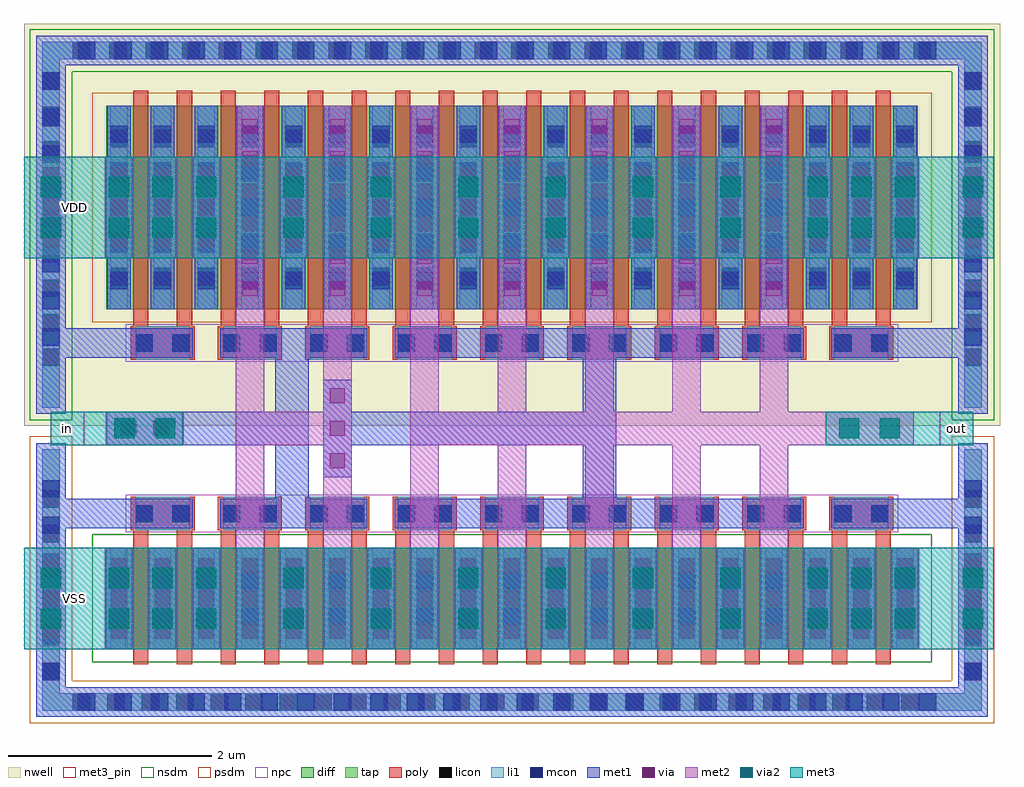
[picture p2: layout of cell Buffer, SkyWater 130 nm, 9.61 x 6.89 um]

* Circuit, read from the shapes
.subckt Buffer VDD VSS in out
XM1 VSS VSS VSS VSS sky130_fd_pr__nfet_01v8 w=1 l=0.15 m=4
XM2 n1 in VSS VSS sky130_fd_pr__nfet_01v8 w=1 l=0.15 m=4
XM3 out n1 VSS VSS sky130_fd_pr__nfet_01v8 w=1 l=0.15 m=10
XM4 VDD VDD VDD VDD sky130_fd_pr__pfet_01v8 w=2 l=0.15 m=4
XM5 n1 in VDD VDD sky130_fd_pr__pfet_01v8 w=2 l=0.15 m=4
XM6 out n1 VDD VDD sky130_fd_pr__pfet_01v8 w=2 l=0.15 m=10
.ends

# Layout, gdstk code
import gdstk
lib = gdstk.Library(unit=1e-6, precision=1e-09)
def R(c, l, rs):  # rectangles x0, y0, x1, y1
    for r in rs: c.add(gdstk.rectangle(r[:2], r[2:], *l))
def A(c, l, x, y, w, h, nx, ny, dx, dy):  # array of equal rectangles
    R(c, l, [(x+i*dx, y+j*dy, x+i*dx+w, y+j*dy+h) for i in range(nx) for j in range(ny)])
nwell = (64, 20)
diff = (65, 20)
tap = (65, 44)
poly = (66, 20)
licon = (66, 44)
li1 = (67, 20)
mcon = (67, 44)
met1 = (68, 20)
via = (68, 44)
met2 = (69, 20)
via2 = (69, 44)
met3_pin = (70, 16)
met3 = (70, 20)
nsdm = (93, 44)
psdm = (94, 20)
npc = (95, 20)

nfet_01v8_cdns_713557510 = lib.new_cell('nfet_01v8_CDNS_7135575103217')
A(nfet_01v8_cdns_713557510, diff, 0, 0, 0.15, 1, 10, 1, 0.43, 0)
A(nfet_01v8_cdns_713557510, diff, 0.15, 0, 0.28, 1, 9, 1, 0.43, 0)
R(nfet_01v8_cdns_713557510, diff, [(-0.055,0,0,1), (4.02,0,4.245,1)])
A(nfet_01v8_cdns_713557510, poly, 0, -0.15, 0.15, 0.055, 10, 2, 0.43, 1.245)
A(nfet_01v8_cdns_713557510, poly, 0, -0.095, 0.15, 0.095, 10, 2, 0.43, 1.095)
A(nfet_01v8_cdns_713557510, poly, 0, 0, 0.15, 1, 10, 1, 0.43, 0)
A(nfet_01v8_cdns_713557510, licon, 0.205, 0.245, 0.17, 0.17, 10, 2, 0.43, 0.34)
A(nfet_01v8_cdns_713557510, li1, 0.205, 0, 0.17, 1, 10, 1, 0.43, 0)
A(nfet_01v8_cdns_713557510, mcon, 0.205, 0.235, 0.17, 0.17, 10, 2, 0.43, 0.36)
A(nfet_01v8_cdns_713557510, met1, 0.175, 0, 0.23, 1, 10, 1, 0.43, 0)
R(nfet_01v8_cdns_713557510, nsdm, [(-0.065,-0.13,4.255,1.13)])

c_nfet_01v8_cdns_713557510 = lib.new_cell('nfet_01v8_CDNS_7135575103210')
R(c_nfet_01v8_cdns_713557510, diff, [(-0.055,0,0,1), (0,0,0.15,1), (0.15,0,0.43,1), (0.43,0,0.58,1), (0.58,0,0.845,1)])
R(c_nfet_01v8_cdns_713557510, poly, [(0,-0.15,0.15,-0.095), (0.43,-0.15,0.58,-0.095), (0,-0.095,0.15,0), (0.43,-0.095,0.58,0), (0,0,0.15,1), (0.43,0,0.58,1), (0,1,0.15,1.095), (0.43,1,0.58,1.095), (0,1.095,0.15,1.15), (0.43,1.095,0.58,1.15)])
R(c_nfet_01v8_cdns_713557510, licon, [(0.205,0.245,0.375,0.415), (0.635,0.245,0.805,0.415), (0.205,0.585,0.375,0.755), (0.635,0.585,0.805,0.755)])
R(c_nfet_01v8_cdns_713557510, li1, [(0.205,0,0.375,1), (0.635,0,0.805,1)])
R(c_nfet_01v8_cdns_713557510, mcon, [(0.205,0.235,0.375,0.405), (0.635,0.235,0.805,0.405), (0.205,0.595,0.375,0.765), (0.635,0.595,0.805,0.765)])
R(c_nfet_01v8_cdns_713557510, met1, [(0.175,0,0.405,1), (0.605,0,0.835,1)])
R(c_nfet_01v8_cdns_713557510, nsdm, [(-0.065,-0.13,0.985,1.13)])

pfet_01v8_cdns_713557510 = lib.new_cell('pfet_01v8_CDNS_7135575103218')
R(pfet_01v8_cdns_713557510, nwell, [(-0.235,-0.18,4.425,2.18)])
A(pfet_01v8_cdns_713557510, diff, 0, 0, 0.15, 2, 10, 1, 0.43, 0)
A(pfet_01v8_cdns_713557510, diff, 0.15, 0, 0.28, 2, 9, 1, 0.43, 0)
R(pfet_01v8_cdns_713557510, diff, [(-0.055,0,0,2), (4.02,0,4.245,2)])
A(pfet_01v8_cdns_713557510, poly, 0, -0.15, 0.15, 0.055, 10, 2, 0.43, 2.245)
A(pfet_01v8_cdns_713557510, poly, 0, -0.095, 0.15, 0.095, 10, 2, 0.43, 2.095)
A(pfet_01v8_cdns_713557510, poly, 0, 0, 0.15, 2, 10, 1, 0.43, 0)
A(pfet_01v8_cdns_713557510, licon, 0.205, 0.235, 0.17, 0.17, 10, 5, 0.43, 0.34)
A(pfet_01v8_cdns_713557510, li1, 0.205, 0, 0.17, 2, 10, 1, 0.43, 0)
A(pfet_01v8_cdns_713557510, mcon, 0.205, 0.195, 0.17, 0.17, 10, 5, 0.43, 0.36)
A(pfet_01v8_cdns_713557510, met1, 0.175, 0, 0.23, 2, 10, 1, 0.43, 0)
R(pfet_01v8_cdns_713557510, psdm, [(-0.065,-0.13,4.255,2.13)])

c_nfet_01v8_cdns_713557510_ = lib.new_cell('nfet_01v8_CDNS_7135575103214')
A(c_nfet_01v8_cdns_713557510_, diff, 0, 0, 0.15, 1, 4, 1, 0.43, 0)
A(c_nfet_01v8_cdns_713557510_, diff, 0.15, 0, 0.28, 1, 3, 1, 0.43, 0)
R(c_nfet_01v8_cdns_713557510_, diff, [(-0.225,0,0,1), (1.44,0,1.665,1)])
A(c_nfet_01v8_cdns_713557510_, poly, 0, -0.15, 0.15, 0.055, 4, 2, 0.43, 1.245)
A(c_nfet_01v8_cdns_713557510_, poly, 0, -0.095, 0.15, 0.095, 4, 2, 0.43, 1.095)
A(c_nfet_01v8_cdns_713557510_, poly, 0, 0, 0.15, 1, 4, 1, 0.43, 0)
A(c_nfet_01v8_cdns_713557510_, licon, -0.225, 0.245, 0.17, 0.17, 5, 2, 0.43, 0.34)
A(c_nfet_01v8_cdns_713557510_, li1, -0.225, 0, 0.17, 1, 5, 1, 0.43, 0)
A(c_nfet_01v8_cdns_713557510_, mcon, -0.225, 0.235, 0.17, 0.17, 5, 2, 0.43, 0.36)
A(c_nfet_01v8_cdns_713557510_, met1, -0.255, 0, 0.23, 1, 5, 1, 0.43, 0)
R(c_nfet_01v8_cdns_713557510_, nsdm, [(-0.235,-0.13,1.675,1.13)])

c_pfet_01v8_cdns_713557510 = lib.new_cell('pfet_01v8_CDNS_7135575103215')
R(c_pfet_01v8_cdns_713557510, nwell, [(-0.405,-0.18,1.845,2.18)])
A(c_pfet_01v8_cdns_713557510, diff, 0, 0, 0.15, 2, 4, 1, 0.43, 0)
A(c_pfet_01v8_cdns_713557510, diff, 0.15, 0, 0.28, 2, 3, 1, 0.43, 0)
R(c_pfet_01v8_cdns_713557510, diff, [(-0.225,0,0,2), (1.44,0,1.665,2)])
A(c_pfet_01v8_cdns_713557510, poly, 0, -0.15, 0.15, 0.055, 4, 2, 0.43, 2.245)
A(c_pfet_01v8_cdns_713557510, poly, 0, -0.095, 0.15, 0.095, 4, 2, 0.43, 2.095)
A(c_pfet_01v8_cdns_713557510, poly, 0, 0, 0.15, 2, 4, 1, 0.43, 0)
A(c_pfet_01v8_cdns_713557510, licon, -0.225, 0.235, 0.17, 0.17, 5, 5, 0.43, 0.34)
A(c_pfet_01v8_cdns_713557510, li1, -0.225, 0, 0.17, 2, 5, 1, 0.43, 0)
A(c_pfet_01v8_cdns_713557510, mcon, -0.225, 0.195, 0.17, 0.17, 5, 5, 0.43, 0.36)
A(c_pfet_01v8_cdns_713557510, met1, -0.255, 0, 0.23, 2, 5, 1, 0.43, 0)
R(c_pfet_01v8_cdns_713557510, psdm, [(-0.235,-0.13,1.675,2.13)])

c_pfet_01v8_cdns_713557510_ = lib.new_cell('pfet_01v8_CDNS_7135575103212')
R(c_pfet_01v8_cdns_713557510_, nwell, [(-0.445,-0.18,0.815,2.18)])
R(c_pfet_01v8_cdns_713557510_, diff, [(-0.265,0,0,2), (0,0,0.15,2), (0.15,0,0.43,2), (0.43,0,0.58,2), (0.58,0,0.635,2)])
R(c_pfet_01v8_cdns_713557510_, poly, [(0,-0.15,0.15,-0.095), (0.43,-0.15,0.58,-0.095), (0,-0.095,0.15,0), (0.43,-0.095,0.58,0), (0,0,0.15,2), (0.43,0,0.58,2), (0,2,0.15,2.095), (0.43,2,0.58,2.095), (0,2.095,0.15,2.15), (0.43,2.095,0.58,2.15)])
A(c_pfet_01v8_cdns_713557510_, licon, -0.225, 0.235, 0.17, 0.17, 1, 5, 0, 0.34)
A(c_pfet_01v8_cdns_713557510_, licon, 0.205, 0.235, 0.17, 0.17, 1, 5, 0, 0.34)
R(c_pfet_01v8_cdns_713557510_, li1, [(-0.225,0,-0.055,2), (0.205,0,0.375,2)])
A(c_pfet_01v8_cdns_713557510_, mcon, -0.225, 0.195, 0.17, 0.17, 1, 5, 0, 0.36)
A(c_pfet_01v8_cdns_713557510_, mcon, 0.205, 0.195, 0.17, 0.17, 1, 5, 0, 0.36)
R(c_pfet_01v8_cdns_713557510_, met1, [(-0.255,0,-0.025,2), (0.175,0,0.405,2)])
R(c_pfet_01v8_cdns_713557510_, psdm, [(-0.405,-0.13,0.645,2.13)])

c_nfet_01v8_cdns_713557510__ = lib.new_cell('nfet_01v8_CDNS_7135575103213')
R(c_nfet_01v8_cdns_713557510__, diff, [(-0.265,0,0,1), (0,0,0.15,1), (0.15,0,0.43,1), (0.43,0,0.58,1), (0.58,0,0.635,1)])
R(c_nfet_01v8_cdns_713557510__, poly, [(0,-0.15,0.15,-0.095), (0.43,-0.15,0.58,-0.095), (0,-0.095,0.15,0), (0.43,-0.095,0.58,0), (0,0,0.15,1), (0.43,0,0.58,1), (0,1,0.15,1.095), (0.43,1,0.58,1.095), (0,1.095,0.15,1.15), (0.43,1.095,0.58,1.15)])
R(c_nfet_01v8_cdns_713557510__, licon, [(-0.225,0.245,-0.055,0.415), (0.205,0.245,0.375,0.415), (-0.225,0.585,-0.055,0.755), (0.205,0.585,0.375,0.755)])
R(c_nfet_01v8_cdns_713557510__, li1, [(-0.225,0,-0.055,1), (0.205,0,0.375,1)])
R(c_nfet_01v8_cdns_713557510__, mcon, [(-0.225,0.235,-0.055,0.405), (0.205,0.235,0.375,0.405), (-0.225,0.595,-0.055,0.765), (0.205,0.595,0.375,0.765)])
R(c_nfet_01v8_cdns_713557510__, met1, [(-0.255,0,-0.025,1), (0.175,0,0.405,1)])
R(c_nfet_01v8_cdns_713557510__, nsdm, [(-0.405,-0.13,0.645,1.13)])

c_pfet_01v8_cdns_713557510__ = lib.new_cell('pfet_01v8_CDNS_7135575103216')
R(c_pfet_01v8_cdns_713557510__, nwell, [(-0.235,-0.18,1.025,2.18)])
R(c_pfet_01v8_cdns_713557510__, diff, [(-0.055,0,0,2), (0,0,0.15,2), (0.15,0,0.43,2), (0.43,0,0.58,2), (0.58,0,0.845,2)])
R(c_pfet_01v8_cdns_713557510__, poly, [(0,-0.15,0.15,-0.095), (0.43,-0.15,0.58,-0.095), (0,-0.095,0.15,0), (0.43,-0.095,0.58,0), (0,0,0.15,2), (0.43,0,0.58,2), (0,2,0.15,2.095), (0.43,2,0.58,2.095), (0,2.095,0.15,2.15), (0.43,2.095,0.58,2.15)])
A(c_pfet_01v8_cdns_713557510__, licon, 0.205, 0.235, 0.17, 0.17, 1, 5, 0, 0.34)
A(c_pfet_01v8_cdns_713557510__, licon, 0.635, 0.235, 0.17, 0.17, 1, 5, 0, 0.34)
R(c_pfet_01v8_cdns_713557510__, li1, [(0.205,0,0.375,2), (0.635,0,0.805,2)])
A(c_pfet_01v8_cdns_713557510__, mcon, 0.205, 0.195, 0.17, 0.17, 1, 5, 0, 0.36)
A(c_pfet_01v8_cdns_713557510__, mcon, 0.635, 0.195, 0.17, 0.17, 1, 5, 0, 0.36)
R(c_pfet_01v8_cdns_713557510__, met1, [(0.175,0,0.405,2), (0.605,0,0.835,2)])
R(c_pfet_01v8_cdns_713557510__, psdm, [(-0.065,-0.13,0.985,2.13)])

m1m2_c_cdns_713557510326 = lib.new_cell('M1M2_C_CDNS_7135575103261')
R(m1m2_c_cdns_713557510326, met1, [(-0.145,-0.5,0.145,0.5)])
A(m1m2_c_cdns_713557510326, via, -0.075, -0.395, 0.15, 0.15, 1, 3, 0, 0.32)
R(m1m2_c_cdns_713557510326, met2, [(-0.145,-0.5,0.145,0.5)])

m2m3_c_cdns_713557510326 = lib.new_cell('M2M3_C_CDNS_7135575103262')
R(m2m3_c_cdns_713557510326, met2, [(-0.145,-0.5,0.145,0.5)])
R(m2m3_c_cdns_713557510326, via2, [(-0.1,-0.3,0.1,-0.1), (-0.1,0.1,0.1,0.3)])
R(m2m3_c_cdns_713557510326, met3, [(-0.165,-0.5,0.165,0.5)])

c_m1m2_c_cdns_713557510326 = lib.new_cell('M1M2_C_CDNS_7135575103263')
R(c_m1m2_c_cdns_713557510326, met1, [(-0.13,-0.5,0.13,0.5)])
A(c_m1m2_c_cdns_713557510326, via, -0.075, -0.395, 0.15, 0.15, 1, 3, 0, 0.32)
R(c_m1m2_c_cdns_713557510326, met2, [(-0.14,-0.5,0.14,0.5)])

c_m2m3_c_cdns_713557510326 = lib.new_cell('M2M3_C_CDNS_7135575103264')
R(c_m2m3_c_cdns_713557510326, met2, [(-0.14,-0.5,0.14,0.5)])
R(c_m2m3_c_cdns_713557510326, via2, [(-0.1,-0.3,0.1,-0.1), (-0.1,0.1,0.1,0.3)])
R(c_m2m3_c_cdns_713557510326, met3, [(-0.165,-0.5,0.165,0.5)])

c_m2m3_c_cdns_713557510326_ = lib.new_cell('M2M3_C_CDNS_7135575103260')
R(c_m2m3_c_cdns_713557510326_, met2, [(-0.385,-0.165,0.385,0.165)])
R(c_m2m3_c_cdns_713557510326_, via2, [(-0.3,-0.1,-0.1,0.1), (0.1,-0.1,0.3,0.1)])
R(c_m2m3_c_cdns_713557510326_, met3, [(-0.375,-0.165,0.375,0.165)])

m2m3_c_cdns_713557510325 = lib.new_cell('M2M3_C_CDNS_713557510325')
R(m2m3_c_cdns_713557510325, met2, [(-0.43,-0.165,0.43,0.165)])
R(m2m3_c_cdns_713557510325, via2, [(-0.3,-0.1,-0.1,0.1), (0.1,-0.1,0.3,0.1)])
R(m2m3_c_cdns_713557510325, met3, [(-0.43,-0.165,0.43,0.165)])

m1m2_c_cdns_713557510325 = lib.new_cell('M1M2_C_CDNS_7135575103259')
R(m1m2_c_cdns_713557510325, met1, [(-0.375,-0.165,0.375,0.165)])
R(m1m2_c_cdns_713557510325, via, [(-0.235,-0.075,-0.085,0.075), (0.085,-0.075,0.235,0.075)])
R(m1m2_c_cdns_713557510325, met2, [(-0.385,-0.165,0.385,0.165)])

c_m1m2_c_cdns_713557510325 = lib.new_cell('M1M2_C_CDNS_7135575103258')
R(c_m1m2_c_cdns_713557510325, met1, [(-0.13,-1,0.13,1)])
A(c_m1m2_c_cdns_713557510325, via, -0.075, -0.875, 0.15, 0.15, 1, 6, 0, 0.32)
R(c_m1m2_c_cdns_713557510325, met2, [(-0.13,-1,0.13,1)])

m1m2_c_cdns_713557510324 = lib.new_cell('M1M2_C_CDNS_7135575103244')
R(m1m2_c_cdns_713557510324, met1, [(-0.13,-0.5,0.13,0.5)])
A(m1m2_c_cdns_713557510324, via, -0.075, -0.395, 0.15, 0.15, 1, 3, 0, 0.32)
R(m1m2_c_cdns_713557510324, met2, [(-0.13,-0.5,0.13,0.5)])

polyconn_cdns_7135575103 = lib.new_cell('polyConn_CDNS_713557510320')
R(polyconn_cdns_7135575103, poly, [(-0.315,-0.165,0.315,0.165)])
R(polyconn_cdns_7135575103, licon, [(-0.265,-0.085,-0.095,0.085), (0.095,-0.085,0.265,0.085)])
R(polyconn_cdns_7135575103, li1, [(-0.265,-0.165,0.265,0.165)])
R(polyconn_cdns_7135575103, mcon, [(-0.265,-0.085,-0.095,0.085), (0.095,-0.085,0.265,0.085)])
R(polyconn_cdns_7135575103, met1, [(-0.295,-0.145,0.295,0.145)])
R(polyconn_cdns_7135575103, npc, [(-0.365,-0.185,0.365,0.185)])

c_m1m2_c_cdns_713557510326_ = lib.new_cell('M1M2_C_CDNS_7135575103265')
R(c_m1m2_c_cdns_713557510326_, met1, [(-0.14,-0.48,0.14,0.48)])
A(c_m1m2_c_cdns_713557510326_, via, -0.075, -0.395, 0.15, 0.15, 1, 3, 0, 0.32)
R(c_m1m2_c_cdns_713557510326_, met2, [(-0.14,-0.48,0.14,0.48)])

buffer = lib.new_cell('Buffer')
R(buffer, nwell, [(0,2.93,9.61,6.89)])
A(buffer, poly, 1.075, 1.73, 0.15, 0.5, 18, 2, 0.43, 1.85)
A(buffer, licon, 0.48, 0.125, 0.17, 0.17, 25, 1, 0.34, 0)
A(buffer, licon, 0.18, 0.425, 0.17, 0.17, 1, 6, 0, 0.34)
A(buffer, licon, 9.26, 0.425, 0.17, 0.17, 1, 6, 0, 0.34)
A(buffer, licon, 0.18, 3.52, 0.17, 0.17, 1, 9, 0, 0.34)
A(buffer, licon, 9.26, 3.52, 0.17, 0.17, 1, 9, 0, 0.34)
A(buffer, licon, 0.48, 6.54, 0.17, 0.17, 24, 1, 0.36, 0)
A(buffer, mcon, 0.53, 0.125, 0.17, 0.17, 24, 2, 0.36, 6.415)
A(buffer, mcon, 0.18, 0.425, 0.17, 0.17, 1, 6, 0, 0.36)
A(buffer, mcon, 9.26, 0.425, 0.17, 0.17, 1, 6, 0, 0.36)
A(buffer, mcon, 0.18, 3.72, 0.17, 0.17, 1, 8, 0, 0.36)
A(buffer, mcon, 9.26, 3.72, 0.17, 0.17, 1, 8, 0, 0.36)
R(buffer, met1, [(0.265,1.92,1.66,2.21), (1.93,1.92,3.38,2.21), (3.65,1.92,7.68,2.21), (7.95,1.92,9.345,2.21), (0.265,3.6,1.66,3.89), (1.93,3.6,3.38,3.89), (3.65,3.6,7.68,3.89), (7.95,3.6,9.345,3.89)])
R(buffer, met3_pin, [(0,0.73,1,1.73), (0.265,2.74,0.595,3.07), (9.015,2.74,9.345,3.07), (0,4.58,1,5.58)])
R(buffer, npc, [(1,1.88,8.61,2.25), (1,3.56,8.61,3.93)])
buffer.add(gdstk.FlexPath([(9.345,6.71),(9.345,3.11)], 0.17, ends="flush", simple_path=True, layer=67, datatype=20))  # li1
buffer.add(gdstk.FlexPath([(0.265,6.71),(0.265,3.11)], 0.17, ends="flush", simple_path=True, layer=67, datatype=20))  # li1
buffer.add(gdstk.FlexPath([(0.18,6.625),(9.43,6.625)], 0.17, ends="flush", simple_path=True, layer=67, datatype=20))  # li1
buffer.add(gdstk.FlexPath([(0.18,0.21),(9.43,0.21)], 0.17, ends="flush", simple_path=True, layer=67, datatype=20))  # li1
buffer.add(gdstk.FlexPath([(9.345,0.125),(9.345,2.7)], 0.17, ends="flush", simple_path=True, layer=67, datatype=20))  # li1
buffer.add(gdstk.FlexPath([(0.265,0.125),(0.265,2.7)], 0.17, ends="flush", simple_path=True, layer=67, datatype=20))  # li1
buffer.add(gdstk.FlexPath([(9.345,0),(9.345,2.825)], 0.42, ends="flush", simple_path=True, layer=94, datatype=20))  # psdm
buffer.add(gdstk.FlexPath([(0.055,0.21),(9.555,0.21)], 0.42, ends="flush", simple_path=True, layer=94, datatype=20))  # psdm
buffer.add(gdstk.FlexPath([(0.265,0),(0.265,2.825)], 0.42, ends="flush", simple_path=True, layer=94, datatype=20))  # psdm
buffer.add(gdstk.FlexPath([(9.345,6.89),(9.345,2.93)], 0.53, ends="flush", simple_path=True, layer=64, datatype=20))  # nwell
buffer.add(gdstk.FlexPath([(0.265,6.89),(0.265,2.93)], 0.53, ends="flush", simple_path=True, layer=64, datatype=20))  # nwell
buffer.add(gdstk.FlexPath([(0,6.625),(9.61,6.625)], 0.53, ends="flush", simple_path=True, layer=64, datatype=20))  # nwell
buffer.add(gdstk.FlexPath([(9.345,6.835),(9.345,2.985)], 0.42, ends="flush", simple_path=True, layer=93, datatype=44))  # nsdm
buffer.add(gdstk.FlexPath([(0.265,6.835),(0.265,2.985)], 0.42, ends="flush", simple_path=True, layer=93, datatype=44))  # nsdm
buffer.add(gdstk.FlexPath([(0.055,6.625),(9.555,6.625)], 0.42, ends="flush", simple_path=True, layer=93, datatype=44))  # nsdm
buffer.add(gdstk.FlexPath([(9.345,6.77),(9.345,3.05)], 0.29, ends="flush", simple_path=True, layer=68, datatype=20))  # met1
buffer.add(gdstk.FlexPath([(0.265,6.77),(0.265,3.05)], 0.29, ends="flush", simple_path=True, layer=68, datatype=20))  # met1
buffer.add(gdstk.FlexPath([(0.12,6.625),(9.49,6.625)], 0.29, ends="flush", simple_path=True, layer=68, datatype=20))  # met1
buffer.add(gdstk.FlexPath([(2.655,2.905),(0.815,2.905)], 0.33, ends="flush", simple_path=True, layer=68, datatype=20))  # met1
buffer.add(gdstk.FlexPath([(5.665,2.905),(2.945,2.905)], 0.33, ends="flush", simple_path=True, layer=68, datatype=20))  # met1
buffer.add(gdstk.FlexPath([(2.64,1.92),(2.64,3.89)], 0.33, ends="flush", simple_path=True, layer=68, datatype=20))  # met1
buffer.add(gdstk.FlexPath([(5.665,1.92),(5.665,3.89)], 0.33, ends="flush", simple_path=True, layer=68, datatype=20))  # met1
buffer.add(gdstk.FlexPath([(9.345,0.065),(9.345,2.76)], 0.29, ends="flush", simple_path=True, layer=68, datatype=20))  # met1
buffer.add(gdstk.FlexPath([(0.12,0.21),(9.49,0.21)], 0.29, ends="flush", simple_path=True, layer=68, datatype=20))  # met1
buffer.add(gdstk.FlexPath([(0.265,0.065),(0.265,2.76)], 0.29, ends="flush", simple_path=True, layer=68, datatype=20))  # met1
buffer.add(gdstk.FlexPath([(1.565,2.905),(0.265,2.905)], 0.33, ends="flush", simple_path=True, layer=70, datatype=20))  # met3
buffer.add(gdstk.FlexPath([(9.345,2.905),(7.895,2.905)], 0.33, ends="flush", simple_path=True, layer=70, datatype=20))  # met3
buffer.add(gdstk.FlexPath([(0,1.23),(9.55,1.23)], 1, ends="flush", simple_path=True, layer=70, datatype=20))  # met3
buffer.add(gdstk.FlexPath([(0,5.08),(9.55,5.08)], 1, ends="flush", simple_path=True, layer=70, datatype=20))  # met3
buffer.add(gdstk.FlexPath([(2.225,6.08),(2.225,0.73)], 0.28, ends="flush", simple_path=True, layer=69, datatype=20))  # met2
buffer.add(gdstk.FlexPath([(3.085,6.08),(3.085,0.73)], 0.28, ends="flush", simple_path=True, layer=69, datatype=20))  # met2
buffer.add(gdstk.FlexPath([(3.945,6.08),(3.945,0.73)], 0.28, ends="flush", simple_path=True, layer=69, datatype=20))  # met2
buffer.add(gdstk.FlexPath([(4.805,6.08),(4.805,0.73)], 0.28, ends="flush", simple_path=True, layer=69, datatype=20))  # met2
buffer.add(gdstk.FlexPath([(5.665,6.08),(5.665,0.73)], 0.28, ends="flush", simple_path=True, layer=69, datatype=20))  # met2
buffer.add(gdstk.FlexPath([(6.525,6.08),(6.525,0.73)], 0.28, ends="flush", simple_path=True, layer=69, datatype=20))  # met2
buffer.add(gdstk.FlexPath([(7.385,6.08),(7.385,0.73)], 0.28, ends="flush", simple_path=True, layer=69, datatype=20))  # met2
buffer.add(gdstk.FlexPath([(3.805,2.905),(8.76,2.905)], 0.33, ends="flush", simple_path=True, layer=69, datatype=20))  # met2
buffer.add(gdstk.FlexPath([(2.085,2.905),(3.225,2.905)], 0.33, ends="flush", simple_path=True, layer=69, datatype=20))  # met2
buffer.add(gdstk.FlexPath([(9.345,0.125),(9.345,2.7)], 0.17, ends="flush", simple_path=True, layer=65, datatype=44))  # tap
buffer.add(gdstk.FlexPath([(0.18,0.21),(9.43,0.21)], 0.17, ends="flush", simple_path=True, layer=65, datatype=44))  # tap
buffer.add(gdstk.FlexPath([(0.265,0.125),(0.265,2.7)], 0.17, ends="flush", simple_path=True, layer=65, datatype=44))  # tap
buffer.add(gdstk.FlexPath([(0.18,6.625),(9.43,6.625)], 0.17, ends="flush", simple_path=True, layer=65, datatype=44))  # tap
buffer.add(gdstk.FlexPath([(0.265,6.71),(0.265,3.11)], 0.17, ends="flush", simple_path=True, layer=65, datatype=44))  # tap
buffer.add(gdstk.FlexPath([(9.345,6.71),(9.345,3.11)], 0.17, ends="flush", simple_path=True, layer=65, datatype=44))  # tap
buffer.add(gdstk.Reference(nfet_01v8_cdns_713557510, (3.655,0.73)))
buffer.add(gdstk.Reference(c_nfet_01v8_cdns_713557510, (7.955,0.73)))
buffer.add(gdstk.Reference(pfet_01v8_cdns_713557510, (3.655,4.08)))
buffer.add(gdstk.Reference(c_nfet_01v8_cdns_713557510_, (1.935,0.73)))
buffer.add(gdstk.Reference(c_pfet_01v8_cdns_713557510, (1.935,4.08)))
buffer.add(gdstk.Reference(c_pfet_01v8_cdns_713557510_, (1.075,4.08)))
buffer.add(gdstk.Reference(c_nfet_01v8_cdns_713557510__, (1.075,0.73)))
buffer.add(gdstk.Reference(c_pfet_01v8_cdns_713557510__, (7.955,4.08)))
buffer.add(gdstk.Reference(m1m2_c_cdns_713557510326, (9.345,1.23)))
buffer.add(gdstk.Reference(m1m2_c_cdns_713557510326, (0.265,1.23)))
buffer.add(gdstk.Reference(m1m2_c_cdns_713557510326, (9.345,5.08)))
buffer.add(gdstk.Reference(m1m2_c_cdns_713557510326, (0.265,5.08)))
buffer.add(gdstk.Reference(m2m3_c_cdns_713557510326, (9.345,1.23)))
buffer.add(gdstk.Reference(m2m3_c_cdns_713557510326, (0.265,1.23)))
buffer.add(gdstk.Reference(m2m3_c_cdns_713557510326, (9.345,5.08)))
buffer.add(gdstk.Reference(m2m3_c_cdns_713557510326, (0.265,5.08)))
buffer.add(gdstk.Reference(c_m1m2_c_cdns_713557510326, (2.655,1.23)))
buffer.add(gdstk.Reference(c_m1m2_c_cdns_713557510326, (1.795,1.23)))
buffer.add(gdstk.Reference(c_m1m2_c_cdns_713557510326, (1.365,1.23)))
buffer.add(gdstk.Reference(c_m1m2_c_cdns_713557510326, (0.935,1.23)))
buffer.add(gdstk.Reference(c_m1m2_c_cdns_713557510326, (2.655,5.08)))
buffer.add(gdstk.Reference(c_m1m2_c_cdns_713557510326, (1.795,5.08)))
buffer.add(gdstk.Reference(c_m1m2_c_cdns_713557510326, (1.365,5.08)))
buffer.add(gdstk.Reference(c_m1m2_c_cdns_713557510326, (0.935,5.08)))
buffer.add(gdstk.Reference(c_m1m2_c_cdns_713557510326, (8.675,1.23)))
buffer.add(gdstk.Reference(c_m1m2_c_cdns_713557510326, (3.515,5.08)))
buffer.add(gdstk.Reference(c_m1m2_c_cdns_713557510326, (4.375,5.08)))
buffer.add(gdstk.Reference(c_m1m2_c_cdns_713557510326, (5.235,5.08)))
buffer.add(gdstk.Reference(c_m1m2_c_cdns_713557510326, (6.095,5.08)))
buffer.add(gdstk.Reference(c_m1m2_c_cdns_713557510326, (6.955,5.08)))
buffer.add(gdstk.Reference(c_m1m2_c_cdns_713557510326, (7.815,5.08)))
buffer.add(gdstk.Reference(c_m1m2_c_cdns_713557510326, (8.245,5.08)))
buffer.add(gdstk.Reference(c_m1m2_c_cdns_713557510326, (8.675,5.08)))
buffer.add(gdstk.Reference(c_m1m2_c_cdns_713557510326, (3.515,1.23)))
buffer.add(gdstk.Reference(c_m1m2_c_cdns_713557510326, (4.375,1.23)))
buffer.add(gdstk.Reference(c_m1m2_c_cdns_713557510326, (5.235,1.23)))
buffer.add(gdstk.Reference(c_m1m2_c_cdns_713557510326, (6.095,1.23)))
buffer.add(gdstk.Reference(c_m1m2_c_cdns_713557510326, (6.955,1.23)))
buffer.add(gdstk.Reference(c_m1m2_c_cdns_713557510326, (7.815,1.23)))
buffer.add(gdstk.Reference(c_m1m2_c_cdns_713557510326, (8.245,1.23)))
buffer.add(gdstk.Reference(c_m2m3_c_cdns_713557510326, (2.655,1.23)))
buffer.add(gdstk.Reference(c_m2m3_c_cdns_713557510326, (1.795,1.23)))
buffer.add(gdstk.Reference(c_m2m3_c_cdns_713557510326, (1.365,1.23)))
buffer.add(gdstk.Reference(c_m2m3_c_cdns_713557510326, (0.935,1.23)))
buffer.add(gdstk.Reference(c_m2m3_c_cdns_713557510326, (2.655,5.08)))
buffer.add(gdstk.Reference(c_m2m3_c_cdns_713557510326, (1.795,5.08)))
buffer.add(gdstk.Reference(c_m2m3_c_cdns_713557510326, (1.365,5.08)))
buffer.add(gdstk.Reference(c_m2m3_c_cdns_713557510326, (0.935,5.08)))
buffer.add(gdstk.Reference(c_m2m3_c_cdns_713557510326, (8.675,1.23)))
buffer.add(gdstk.Reference(c_m2m3_c_cdns_713557510326, (3.515,5.08)))
buffer.add(gdstk.Reference(c_m2m3_c_cdns_713557510326, (4.375,5.08)))
buffer.add(gdstk.Reference(c_m2m3_c_cdns_713557510326, (5.235,5.08)))
buffer.add(gdstk.Reference(c_m2m3_c_cdns_713557510326, (6.095,5.08)))
buffer.add(gdstk.Reference(c_m2m3_c_cdns_713557510326, (6.955,5.08)))
buffer.add(gdstk.Reference(c_m2m3_c_cdns_713557510326, (7.815,5.08)))
buffer.add(gdstk.Reference(c_m2m3_c_cdns_713557510326, (8.245,5.08)))
buffer.add(gdstk.Reference(c_m2m3_c_cdns_713557510326, (8.675,5.08)))
buffer.add(gdstk.Reference(c_m2m3_c_cdns_713557510326, (3.515,1.23)))
buffer.add(gdstk.Reference(c_m2m3_c_cdns_713557510326, (4.375,1.23)))
buffer.add(gdstk.Reference(c_m2m3_c_cdns_713557510326, (5.235,1.23)))
buffer.add(gdstk.Reference(c_m2m3_c_cdns_713557510326, (6.095,1.23)))
buffer.add(gdstk.Reference(c_m2m3_c_cdns_713557510326, (6.955,1.23)))
buffer.add(gdstk.Reference(c_m2m3_c_cdns_713557510326, (7.815,1.23)))
buffer.add(gdstk.Reference(c_m2m3_c_cdns_713557510326, (8.245,1.23)))
buffer.add(gdstk.Reference(c_m2m3_c_cdns_713557510326_, (1.19,2.905)))
buffer.add(gdstk.Reference(m2m3_c_cdns_713557510325, (8.325,2.905)))
buffer.add(gdstk.Reference(m1m2_c_cdns_713557510325, (1.19,2.905)))
buffer.add(gdstk.Reference(c_m1m2_c_cdns_713557510325, (2.225,5.08)))
buffer.add(gdstk.Reference(c_m1m2_c_cdns_713557510325, (3.085,5.08)))
buffer.add(gdstk.Reference(c_m1m2_c_cdns_713557510325, (3.945,5.08)))
buffer.add(gdstk.Reference(c_m1m2_c_cdns_713557510325, (4.805,5.08)))
buffer.add(gdstk.Reference(c_m1m2_c_cdns_713557510325, (5.665,5.08)))
buffer.add(gdstk.Reference(c_m1m2_c_cdns_713557510325, (6.525,5.08)))
buffer.add(gdstk.Reference(c_m1m2_c_cdns_713557510325, (7.385,5.08)))
buffer.add(gdstk.Reference(m1m2_c_cdns_713557510324, (2.225,1.23)))
buffer.add(gdstk.Reference(m1m2_c_cdns_713557510324, (3.085,1.23)))
buffer.add(gdstk.Reference(m1m2_c_cdns_713557510324, (3.945,1.23)))
buffer.add(gdstk.Reference(m1m2_c_cdns_713557510324, (4.805,1.23)))
buffer.add(gdstk.Reference(m1m2_c_cdns_713557510324, (5.665,1.23)))
buffer.add(gdstk.Reference(m1m2_c_cdns_713557510324, (6.525,1.23)))
buffer.add(gdstk.Reference(m1m2_c_cdns_713557510324, (7.385,1.23)))
buffer.add(gdstk.Reference(polyconn_cdns_7135575103, (5.665,3.745)))
buffer.add(gdstk.Reference(polyconn_cdns_7135575103, (4.805,3.745)))
buffer.add(gdstk.Reference(polyconn_cdns_7135575103, (7.385,3.745)))
buffer.add(gdstk.Reference(polyconn_cdns_7135575103, (6.525,3.745)))
buffer.add(gdstk.Reference(polyconn_cdns_7135575103, (8.245,3.745)))
buffer.add(gdstk.Reference(polyconn_cdns_7135575103, (5.665,2.065), x_reflection=True))
buffer.add(gdstk.Reference(polyconn_cdns_7135575103, (4.805,2.065), x_reflection=True))
buffer.add(gdstk.Reference(polyconn_cdns_7135575103, (7.385,2.065), x_reflection=True))
buffer.add(gdstk.Reference(polyconn_cdns_7135575103, (1.365,2.065), x_reflection=True))
buffer.add(gdstk.Reference(polyconn_cdns_7135575103, (2.225,2.065), x_reflection=True))
buffer.add(gdstk.Reference(polyconn_cdns_7135575103, (3.085,2.065), x_reflection=True))
buffer.add(gdstk.Reference(polyconn_cdns_7135575103, (3.085,3.745)))
buffer.add(gdstk.Reference(polyconn_cdns_7135575103, (3.945,3.745)))
buffer.add(gdstk.Reference(polyconn_cdns_7135575103, (1.365,3.745)))
buffer.add(gdstk.Reference(polyconn_cdns_7135575103, (3.945,2.065), x_reflection=True))
buffer.add(gdstk.Reference(polyconn_cdns_7135575103, (2.225,3.745)))
buffer.add(gdstk.Reference(polyconn_cdns_7135575103, (6.525,2.065), x_reflection=True))
buffer.add(gdstk.Reference(polyconn_cdns_7135575103, (8.245,2.065), x_reflection=True))
buffer.add(gdstk.Reference(c_m1m2_c_cdns_713557510326_, (3.085,2.905)))
buffer.add(gdstk.Label('VDD', (0.5,5.08), layer=70, texttype=5))
buffer.add(gdstk.Label('VSS', (0.5,1.23), layer=70, texttype=5))
buffer.add(gdstk.Label('in', (0.43,2.905), layer=70, texttype=5))
buffer.add(gdstk.Label('out', (9.18,2.905), layer=70, texttype=5))

lib.write_gds('Buffer.gds')
